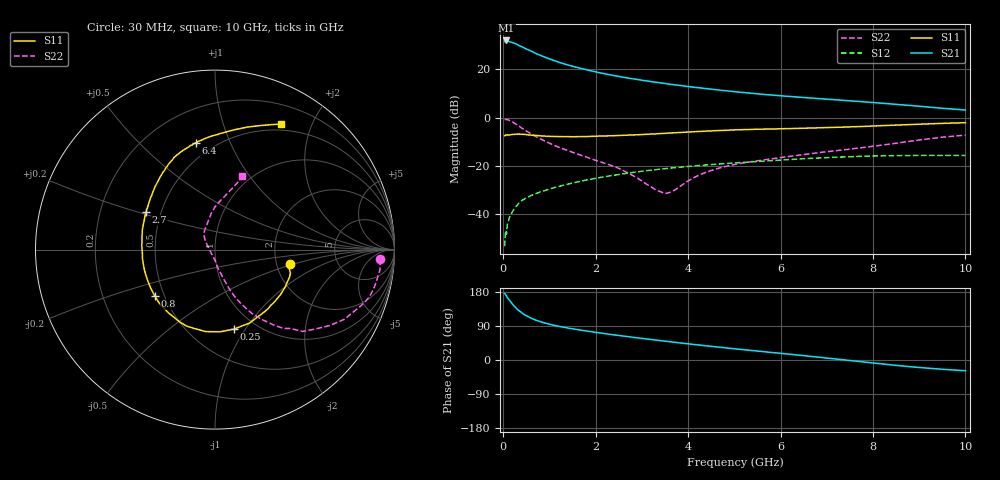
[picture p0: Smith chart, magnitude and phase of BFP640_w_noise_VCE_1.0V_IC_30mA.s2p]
! Infineon Technologies  Discrete & RF Semiconductors
! BFP640
! VCE =  1.0 V,  IC =  30 mA
! Common Emitter S-Parameters:  Apr 2013
# GHz  S  MA  R  50
!  f  S11  S21  S12  S22
! GHz  MAG  ANG  MAG  ANG  MAG  ANG  MAG  ANG
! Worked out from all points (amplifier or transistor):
!   99 points, 30 MHz to 10 GHz, reference 50 ohm
!   highest |S21| = 32.0 dB at 70 MHz (marker M1)
!   |S21| within 3 dB of that: start of sweep to 442.5 MHz
!   unconditionally stable (mu >= 1): 1.807 GHz to end of sweep
!   at 350 MHz: K = 0.40, MSG = 32.4 dB, |S12| = -35.0 dB
!   at 3.5 GHz: K = 1.08, MAG = 15.9 dB, |S12| = -21.1 dB
!   at 10 GHz: K = 1.10, MAG = 7.5 dB, |S12| = -15.6 dB
!   lowest NFmin = 1.07 dB at 450 MHz
!   S11 on the Smith chart (normalised r, x): 30 MHz: 2.37, -0.45; 250 MHz: 0.80, -0.89; 800 MHz: 0.44, -0.28; 2.7 GHz: 0.41, +0.21; 6.4 GHz: 0.40, +0.75; 10 GHz: 0.42, +1.58
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0.03  0.4235 -10.6  37.82 175.8  0.0022 82.6  0.9221 -3.4
0.05  0.4404 -17.3  39.38 173.2  0.0046 60.9  0.9264 -6.9
0.07  0.4413 -24.2  39.88 168.8  0.0039 78.2  0.9192 -9.7
0.09  0.4421 -31.4  39.27 164.8  0.0062 81.3  0.9129 -12.9
0.15  0.4429 -50.9  37.36 155.3  0.0093 76.3  0.8633 -22.0
0.2  0.4523 -64.7  35.94 147.3  0.0114 70.3  0.8188 -28.3
0.25  0.4553 -76.5  34.71 140.8  0.0136 67.5  0.7655 -33.6
0.3  0.4589 -86.5  33.09 134.6  0.0154 64.3  0.7132 -38.3
0.35  0.4597 -96.2  30.85 129.2  0.0178 63.0  0.6686 -43.0
0.45  0.4547 -110.5  27.97 120.2  0.0206 59.4  0.5812 -49.1
0.6  0.4374 -126.6  24.13 110.6  0.0245 57.4  0.4668 -56.3
0.8  0.4236 -142.5  19.73 101.3  0.0292 56.4  0.3679 -62.3
1  0.4133 -154.7  16.59 94.5  0.0335 55.7  0.2974 -66.5
1.2  0.4089 -165.0  14.16 89.0  0.038 55.7  0.2456 -69.3
1.7  0.4087 176.5  10.38 78.4  0.0492 54.0  0.1652 -73.7
2.7  0.4377 151.3  6.657 61.6  0.0715 47.7  0.0723 -85.6
3.4  0.4715 137.4  5.28 51.1  0.0865 41.8  0.0296 -136.0
5.1  0.5646 112.8  3.404 28.4  0.1178 26.9  0.1122 122.3
6.4  0.6038 100.3  2.676 12.8  0.1403 15.4  0.1684 102.4
6.7  0.6146 96.9  2.556 9.0  0.1452 12.6  0.1831 99.2
8.5  0.706 75.2  1.898 -14.2  0.1649 -6.0  0.2975 80.3
10  0.7913 62.1  1.448 -28.3  0.1659 -17.3  0.4374 69.6
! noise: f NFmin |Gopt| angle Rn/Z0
0.45  1.07  0.19  -171  0.03
0.9  1.08  0.2  -159  0.04
1.5  1.09  0.23  -144  0.06
1.9  1.1  0.24  -135  0.07
2.4  1.13  0.27  -122  0.09
3.5  1.26  0.31  -105  0.13
5.5  1.46  0.33  -92  0.21
10  1.93  0.6  -52  0.58
